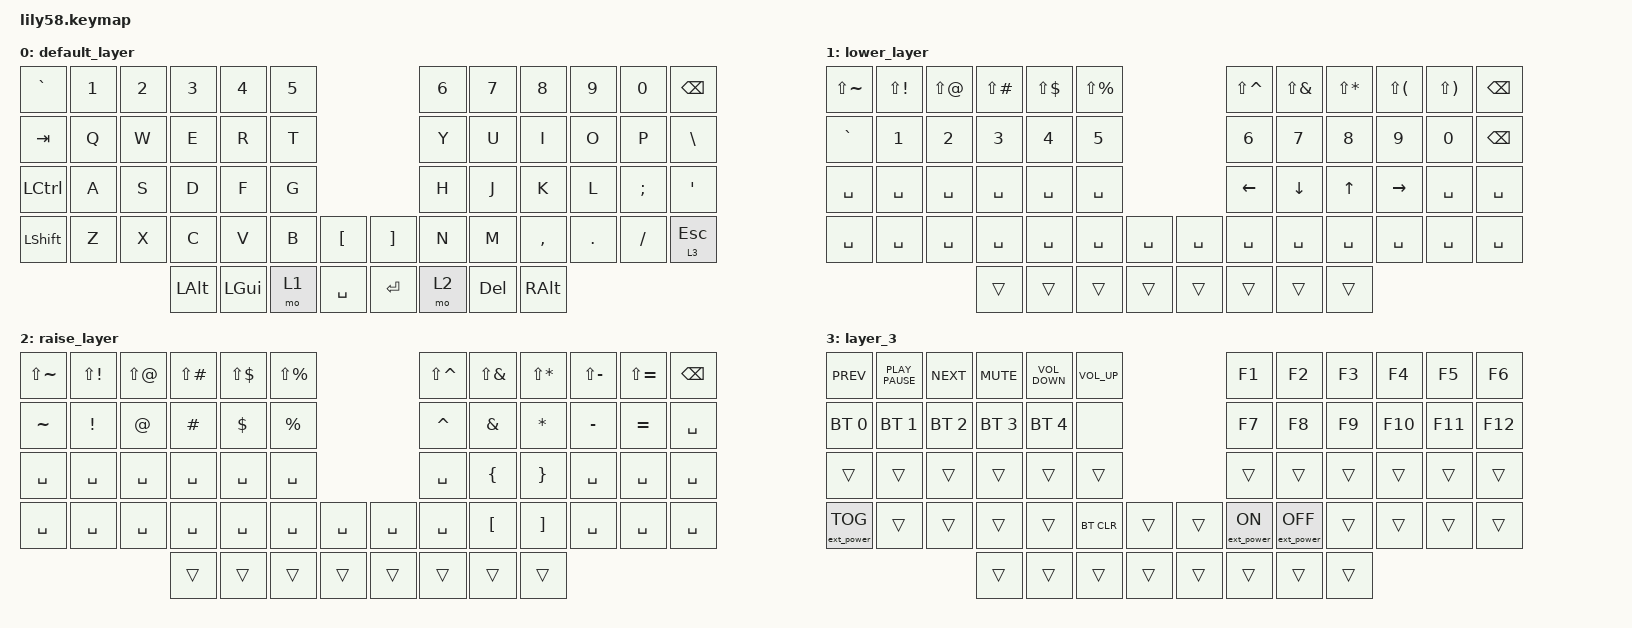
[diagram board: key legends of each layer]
/*
 * Copyright (c) 2020 The ZMK Contributors
 *
 * SPDX-License-Identifier: MIT
 */

#include <behaviors.dtsi>
#include <dt-bindings/zmk/bt.h>
#include <dt-bindings/zmk/ext_power.h>
#include <dt-bindings/zmk/keys.h>

/ {
    keymap {
        compatible = "zmk,keymap";

        default_layer {
            // ------------------------------------------------------------------------------------------------------------
            // |  ESC  |  1  |  2  |  3   |  4   |  5   |                   |  6   |  7    |  8    |  9   |   0   |   `   |
            // |  TAB  |  Q  |  W  |  E   |  R   |  T   |                   |  Y   |  U    |  I    |  O   |   P   |   -   |
            // |  CTRL |  A  |  S  |  D   |  F   |  G   |                   |  H   |  J    |  K    |  L   |   ;   |   '   |
            // | SHIFT |  Z  |  X  |  C   |  V   |  B   |   "["  |  |  "]"  |  N   |  M    |  ,    |  .   |   /   | SHIFT |
            //                     | ALT  | GUI  | LOWER|  SPACE |  | ENTER | RAISE| BSPC  | GUI   |

            bindings = <
&kp GRAVE  &kp N1  &kp N2  &kp N3    &kp N4    &kp N5                         &kp N6  &kp N7      &kp N8         &kp N9   &kp N0    &kp BACKSPACE
&kp TAB    &kp Q   &kp W   &kp E     &kp R     &kp T                          &kp Y   &kp U       &kp I          &kp O    &kp P     &kp BACKSLASH
&kp LCTRL  &kp A   &kp S   &kp D     &kp F     &kp G                          &kp H   &kp J       &kp K          &kp L    &kp SEMI  &kp SQT
&kp LSHFT  &kp Z   &kp X   &kp C     &kp V     &kp B   &kp LBKT     &kp RBKT  &kp N   &kp M       &kp COMMA      &kp DOT  &kp FSLH  &lt 3 ESCAPE
                           &kp LALT  &kp LGUI  &mo 1   &kp SPACE    &kp RET   &mo 2   &kp DELETE  &kp RIGHT_ALT
            >;
        };

        lower_layer {
            // ------------------------------------------------------------------------------------------------------------
            // | BTCLR | BT1 | BT2 |  BT3 |  BT4 |  BT5 |                   |      |       |       |      |       |       |
            // |  F1   |  F2 |  F3 |  F4  |  F5  |  F6  |                   |  F7  |  F8   |  F9   |  F10 |  F11  |  F12  |
            // |   `   |  !  |  @  |  #   |  $   |  %   |                   |  ^   |  &    |  *    |  (   |   )   |   ~   |
            // |       |     |     |      |      |      |        |  |       |      |  _    |  +    |  {   |   }   |  "|"  |
            //                     |      |      |      |        |  |       |      |       |       |

            bindings = <
&kp LS(TILDE)  &kp LS(EXCL)  &kp LS(AT)  &kp LS(POUND)  &kp LS(DLLR)  &kp LS(PRCNT)                          &kp LS(CARET)  &kp LS(AMPS)  &kp LS(STAR)  &kp LS(LPAR)  &kp LS(RPAR)  &kp BSPC
&kp GRAVE      &kp N1        &kp N2      &kp N3         &kp N4        &kp N5                                 &kp N6         &kp N7        &kp N8        &kp N9        &kp N0        &kp BSPC
&kp SPACE      &kp SPACE     &kp SPACE   &kp SPACE      &kp SPACE     &kp SPACE                              &kp LEFT       &kp DOWN      &kp UP_ARROW  &kp RIGHT     &kp SPACE     &kp SPACE
&kp SPACE      &kp SPACE     &kp SPACE   &kp SPACE      &kp SPACE     &kp SPACE      &kp SPACE    &kp SPACE  &kp SPACE      &kp SPACE     &kp SPACE     &kp SPACE     &kp SPACE     &kp SPACE
                                         &trans         &trans        &trans         &trans       &trans     &trans         &trans        &trans
            >;
        };

        raise_layer {
            // ------------------------------------------------------------------------------------------------------------
            // |       |     |     |      |      |      |                   |      |       |       |      |       |       |
            // |   `   |  1  |  2  |  3   |  4   |  5   |                   |  6   |   7   |   8   |  9   |   0   |       |
            // |   F1  |  F2 |  F3 |  F4  |  F5  |  F6  |                   |      |   <-  |   v   |  ^   |  ->   |       |
            // |   F7  |  F8 |  F9 |  F10 |  F11 |  F12 |        |  |       |  +   |   -   |   =   |  [   |   ]   |   \   |
            //                     |      |      |      |        |  |       |      |       |       |

            bindings = <
&kp LS(TILDE)  &kp LS(EXCL)     &kp LS(AT)   &kp LS(POUND)  &kp LS(DLLR)  &kp LS(PRCNT)                          &kp LS(CARET)  &kp LS(AMPS)      &kp LS(STAR)       &kp LS(MINUS)  &kp LS(EQUAL)  &kp BSPC
&kp TILDE      &kp EXCLAMATION  &kp AT_SIGN  &kp HASH       &kp DOLLAR    &kp PERCENT                            &kp CARET      &kp AMPERSAND     &kp ASTERISK       &kp MINUS      &kp EQUAL      &kp SPACE
&kp SPACE      &kp SPACE        &kp SPACE    &kp SPACE      &kp SPACE     &kp SPACE                              &kp SPACE      &kp LEFT_BRACE    &kp RIGHT_BRACE    &kp SPACE      &kp SPACE      &kp SPACE
&kp SPACE      &kp SPACE        &kp SPACE    &kp SPACE      &kp SPACE     &kp SPACE      &kp SPACE    &kp SPACE  &kp SPACE      &kp LEFT_BRACKET  &kp RIGHT_BRACKET  &kp SPACE      &kp SPACE      &kp SPACE
                                             &trans         &trans        &trans         &trans       &trans     &trans         &trans            &trans
            >;
        };

        layer_3 {
            bindings = <
&kp K_PREV         &kp K_PLAY_PAUSE  &kp K_NEXT    &kp K_MUTE    &kp K_VOLUME_DOWN  &kp K_VOLUME_UP                    &kp F1            &kp F2             &kp F3  &kp F4   &kp F5   &kp F6
&bt BT_SEL 0       &bt BT_SEL 1      &bt BT_SEL 2  &bt BT_SEL 3  &bt BT_SEL 4       &none                              &kp F7            &kp F8             &kp F9  &kp F10  &kp F11  &kp F12
&trans             &trans            &trans        &trans        &trans             &trans                             &trans            &trans             &trans  &trans   &trans   &trans
&ext_power EP_TOG  &trans            &trans        &trans        &trans             &bt BT_CLR       &trans    &trans  &ext_power EP_ON  &ext_power EP_OFF  &trans  &trans   &trans   &trans
                                                   &trans        &trans             &trans           &trans    &trans  &trans            &trans             &trans
            >;
        };
    };
};
